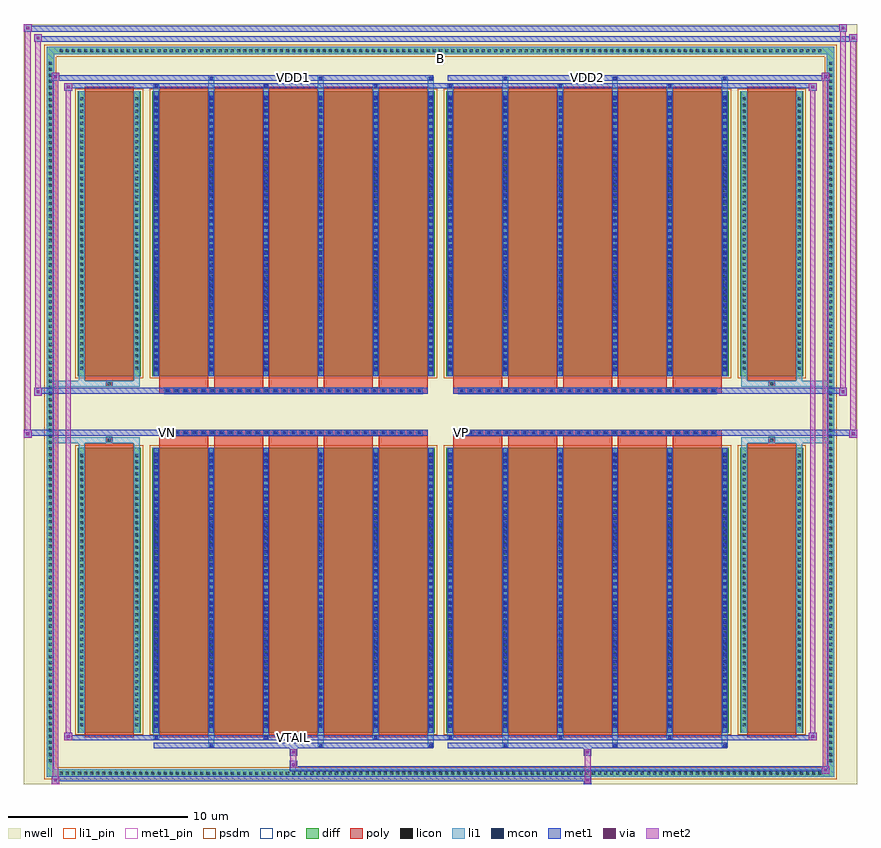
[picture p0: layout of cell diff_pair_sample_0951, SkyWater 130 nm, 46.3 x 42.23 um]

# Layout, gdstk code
import gdstk
lib = gdstk.Library(unit=1e-6, precision=5e-09)
def R(c, l, rs):  # rectangles x0, y0, x1, y1
    for r in rs: c.add(gdstk.rectangle(r[:2], r[2:], *l))
def A(c, l, x, y, w, h, nx, ny, dx, dy):  # array of equal rectangles
    R(c, l, [(x+i*dx, y+j*dy, x+i*dx+w, y+j*dy+h) for i in range(nx) for j in range(ny)])
def P(c, l, *ps):  # polygons
    for p in ps: c.add(gdstk.Polygon(p, *l))
nwell = (64, 20)
diff = (65, 20)
poly = (66, 20)
licon = (66, 44)
li1_pin = (67, 16)
li1 = (67, 20)
mcon = (67, 44)
met1_pin = (68, 16)
met1 = (68, 20)
via = (68, 44)
met2 = (69, 20)
psdm = (94, 20)
npc = (95, 20)

diff_pair_sample_0951 = lib.new_cell('diff_pair_sample_0951')
R(diff_pair_sample_0951, nwell, [(-23.15,-20.68,23.15,21.55), (-20.47,-18.87,-0.01,-0.805), (0.01,-18.87,20.47,-0.805), (-20.47,0.805,-0.01,18.87), (0.01,0.805,20.47,18.87)])
A(diff_pair_sample_0951, diff, -21.285, -20.28, 0.41, 0.41, 125, 2, 0.34, 40.15)
A(diff_pair_sample_0951, diff, -21.88, -19.585, 0.41, 0.41, 1, 115, 0, 0.34)
A(diff_pair_sample_0951, diff, 21.47, -19.585, 0.41, 0.41, 1, 115, 0, 0.34)
R(diff_pair_sample_0951, diff, [(-21.285,-20.28,21.285,-19.87), (-21.88,-19.585,-21.47,19.585), (21.47,-19.585,21.88,19.585), (-20.16,-17.825,-16.66,-1.985), (-16.02,-17.825,-0.32,-1.985), (0.32,-17.825,16.02,-1.985), (16.66,-17.825,20.16,-1.985), (-20.16,1.985,-16.66,17.825), (-16.02,1.985,-0.32,17.825), (0.32,1.985,16.02,17.825), (16.66,1.985,20.16,17.825), (-21.285,19.87,21.285,20.28)])
P(diff_pair_sample_0951, diff, [(21.88,20.28),(-21.88,20.28),(-21.88,-19.87),(-21.47,-19.87),(-21.47,19.87),(21.47,19.87),(21.47,-19.87),(-21.47,-19.87),(-21.88,-19.87),(-21.88,-20.28),(21.88,-20.28)])
A(diff_pair_sample_0951, poly, -15.63, -18.075, 2.72, 16.34, 5, 2, 3.05, 19.81)
A(diff_pair_sample_0951, poly, 0.71, -18.075, 2.72, 16.34, 5, 2, 3.05, 19.81)
A(diff_pair_sample_0951, poly, -15.63, -1.735, 2.72, 0.4, 5, 2, 3.05, 3.07)
A(diff_pair_sample_0951, poly, 0.71, -1.735, 2.72, 0.4, 5, 2, 3.05, 3.07)
A(diff_pair_sample_0951, poly, -15.335, -1.335, 0.33, 0.33, 29, 2, 0.5, 2.34)
A(diff_pair_sample_0951, poly, 1.005, -1.335, 0.33, 0.33, 29, 2, 0.5, 2.34)
R(diff_pair_sample_0951, poly, [(-19.77,-18.075,-17.05,-1.735), (17.05,-18.075,19.77,-1.735), (-18.575,-1.735,-18.245,-1.405), (-18.575,-1.735,-18.245,-1.405), (18.245,-1.735,18.575,-1.405), (18.245,-1.735,18.575,-1.405), (-15.63,-1.335,-0.71,-1.005), (0.71,-1.335,15.63,-1.005), (-15.63,1.005,-0.71,1.335), (0.71,1.005,15.63,1.335), (-18.575,1.405,-18.245,1.735), (-18.575,1.405,-18.245,1.735), (18.245,1.405,18.575,1.735), (18.245,1.405,18.575,1.735), (-19.77,1.735,-17.05,18.075), (17.05,1.735,19.77,18.075)])
A(diff_pair_sample_0951, licon, -21.165, -20.16, 0.17, 0.17, 125, 2, 0.34, 40.15)
A(diff_pair_sample_0951, licon, -21.76, -19.465, 0.17, 0.17, 1, 115, 0, 0.34)
A(diff_pair_sample_0951, licon, 21.59, -19.465, 0.17, 0.17, 1, 115, 0, 0.34)
A(diff_pair_sample_0951, licon, -20.02, -17.47, 0.17, 0.17, 1, 45, 0, 0.34)
A(diff_pair_sample_0951, licon, -16.97, -17.47, 0.17, 0.17, 1, 45, 0, 0.34)
A(diff_pair_sample_0951, licon, -15.88, -17.47, 0.17, 0.17, 6, 45, 3.05, 0.34)
A(diff_pair_sample_0951, licon, 0.46, -17.47, 0.17, 0.17, 6, 45, 3.05, 0.34)
A(diff_pair_sample_0951, licon, 16.8, -17.47, 0.17, 0.17, 1, 45, 0, 0.34)
A(diff_pair_sample_0951, licon, 19.85, -17.47, 0.17, 0.17, 1, 45, 0, 0.34)
A(diff_pair_sample_0951, licon, -15.255, -1.255, 0.17, 0.17, 29, 2, 0.5, 2.34)
A(diff_pair_sample_0951, licon, 1.085, -1.255, 0.17, 0.17, 29, 2, 0.5, 2.34)
A(diff_pair_sample_0951, licon, -20.02, 2.34, 0.17, 0.17, 1, 45, 0, 0.34)
A(diff_pair_sample_0951, licon, -16.97, 2.34, 0.17, 0.17, 1, 45, 0, 0.34)
A(diff_pair_sample_0951, licon, -15.88, 2.34, 0.17, 0.17, 6, 45, 3.05, 0.34)
A(diff_pair_sample_0951, licon, 0.46, 2.34, 0.17, 0.17, 6, 45, 3.05, 0.34)
A(diff_pair_sample_0951, licon, 16.8, 2.34, 0.17, 0.17, 1, 45, 0, 0.34)
A(diff_pair_sample_0951, licon, 19.85, 2.34, 0.17, 0.17, 1, 45, 0, 0.34)
R(diff_pair_sample_0951, licon, [(-18.495,-1.655,-18.325,-1.485), (18.325,-1.655,18.495,-1.485), (-18.495,1.485,-18.325,1.655), (18.325,1.485,18.495,1.655)])
R(diff_pair_sample_0951, li1_pin, [(-0.25,19.37,0.25,19.87)])
A(diff_pair_sample_0951, li1, -21.245, -20.24, 0.33, 0.33, 125, 2, 0.34, 40.15)
A(diff_pair_sample_0951, li1, -21.84, -19.545, 0.33, 0.33, 1, 115, 0, 0.34)
A(diff_pair_sample_0951, li1, 21.51, -19.545, 0.33, 0.33, 1, 115, 0, 0.34)
A(diff_pair_sample_0951, li1, -12.91, -18.63, 0.33, 0.805, 3, 2, 6.1, 36.455)
A(diff_pair_sample_0951, li1, -12.83, -18.63, 0.17, 0.17, 3, 2, 6.1, 37.09)
A(diff_pair_sample_0951, li1, 3.43, -18.63, 0.33, 0.805, 3, 2, 6.1, 36.455)
A(diff_pair_sample_0951, li1, 3.51, -18.63, 0.17, 0.17, 3, 2, 6.1, 37.09)
A(diff_pair_sample_0951, li1, -15.96, -18.2, 0.33, 0.375, 3, 2, 6.1, 36.025)
A(diff_pair_sample_0951, li1, -15.88, -18.2, 0.17, 0.17, 3, 2, 6.1, 36.23)
A(diff_pair_sample_0951, li1, 0.38, -18.2, 0.33, 0.375, 3, 2, 6.1, 36.025)
A(diff_pair_sample_0951, li1, 0.46, -18.2, 0.17, 0.17, 3, 2, 6.1, 36.23)
A(diff_pair_sample_0951, li1, -15.96, -17.825, 0.33, 15.84, 6, 2, 3.05, 19.81)
A(diff_pair_sample_0951, li1, 0.38, -17.825, 0.33, 15.84, 6, 2, 3.05, 19.81)
A(diff_pair_sample_0951, li1, -20.1, -17.55, 0.33, 0.33, 1, 45, 0, 0.34)
A(diff_pair_sample_0951, li1, -17.05, -17.55, 0.33, 0.33, 1, 45, 0, 0.34)
A(diff_pair_sample_0951, li1, -15.96, -17.55, 0.33, 0.33, 6, 45, 3.05, 0.34)
A(diff_pair_sample_0951, li1, -15.88, -17.55, 0.17, 0.17, 6, 43, 3.05, 0.36)
A(diff_pair_sample_0951, li1, -15.88, -17.55, 0.17, 15.29, 6, 2, 3.05, 19.81)
A(diff_pair_sample_0951, li1, 0.38, -17.55, 0.33, 0.33, 6, 45, 3.05, 0.34)
A(diff_pair_sample_0951, li1, 0.46, -17.55, 0.17, 0.17, 6, 43, 3.05, 0.36)
A(diff_pair_sample_0951, li1, 0.46, -17.55, 0.17, 15.29, 6, 2, 3.05, 19.81)
A(diff_pair_sample_0951, li1, 16.72, -17.55, 0.33, 0.33, 1, 45, 0, 0.34)
A(diff_pair_sample_0951, li1, 19.77, -17.55, 0.33, 0.33, 1, 45, 0, 0.34)
A(diff_pair_sample_0951, li1, -15.335, -1.335, 0.33, 0.33, 29, 2, 0.5, 2.34)
A(diff_pair_sample_0951, li1, 1.005, -1.335, 0.33, 0.33, 29, 2, 0.5, 2.34)
A(diff_pair_sample_0951, li1, -20.1, 2.26, 0.33, 0.33, 1, 45, 0, 0.34)
A(diff_pair_sample_0951, li1, -17.05, 2.26, 0.33, 0.33, 1, 45, 0, 0.34)
A(diff_pair_sample_0951, li1, -15.96, 2.26, 0.33, 0.33, 6, 45, 3.05, 0.34)
A(diff_pair_sample_0951, li1, -15.88, 2.26, 0.17, 0.17, 6, 43, 3.05, 0.36)
A(diff_pair_sample_0951, li1, 0.38, 2.26, 0.33, 0.33, 6, 45, 3.05, 0.34)
A(diff_pair_sample_0951, li1, 0.46, 2.26, 0.17, 0.17, 6, 43, 3.05, 0.36)
A(diff_pair_sample_0951, li1, 16.72, 2.26, 0.33, 0.33, 1, 45, 0, 0.34)
A(diff_pair_sample_0951, li1, 19.77, 2.26, 0.33, 0.33, 1, 45, 0, 0.34)
R(diff_pair_sample_0951, li1, [(-21.88,-20.28,-21.47,-19.87), (-21.88,-20.28,-21.47,-19.87), (-21.47,-20.28,21.47,-19.87), (21.47,-20.28,21.88,-19.87), (21.47,-20.28,21.88,-19.87), (-21.88,-19.87,-21.47,19.87), (21.47,-19.87,21.88,19.87), (-20.1,-17.825,-19.77,-1.985), (-17.05,-17.825,-16.72,-1.985), (16.72,-17.825,17.05,-1.985), (19.77,-17.825,20.1,-1.985), (-20.1,-1.985,-19.77,-1.405), (-17.05,-1.985,-16.72,-1.405), (16.72,-1.985,17.05,-1.405), (19.77,-1.985,20.1,-1.405), (-21.88,-1.735,-18.575,-1.405), (-20.1,-1.735,-18.575,-1.405), (-18.575,-1.735,-18.245,-1.405), (-18.245,-1.735,-16.72,-1.405), (16.72,-1.735,18.245,-1.405), (18.245,-1.735,18.575,-1.405), (18.245,-1.735,21.88,-1.405), (18.575,-1.735,20.1,-1.405), (-21.88,1.405,-18.575,1.735), (-20.1,1.405,-18.575,1.735), (-20.1,1.405,-19.77,1.985), (-18.575,1.405,-18.245,1.735), (-18.245,1.405,-16.72,1.735), (-17.05,1.405,-16.72,1.985), (16.72,1.405,18.245,1.735), (16.72,1.405,17.05,1.985), (18.245,1.405,18.575,1.735), (18.245,1.405,21.88,1.735), (18.575,1.405,20.1,1.735), (19.77,1.405,20.1,1.985), (-20.1,1.985,-19.77,17.825), (-17.05,1.985,-16.72,17.825), (16.72,1.985,17.05,17.825), (19.77,1.985,20.1,17.825), (-21.88,19.87,-21.47,20.28), (-21.88,19.87,-21.47,20.28), (-21.47,19.87,21.47,20.28), (21.47,19.87,21.88,20.28), (21.47,19.87,21.88,20.28)])
A(diff_pair_sample_0951, mcon, -12.83, -18.63, 0.17, 0.17, 3, 2, 6.1, 37.09)
A(diff_pair_sample_0951, mcon, 3.51, -18.63, 0.17, 0.17, 3, 2, 6.1, 37.09)
A(diff_pair_sample_0951, mcon, -15.88, -18.2, 0.17, 0.17, 3, 2, 6.1, 36.23)
A(diff_pair_sample_0951, mcon, 0.46, -18.2, 0.17, 0.17, 3, 2, 6.1, 36.23)
A(diff_pair_sample_0951, mcon, -15.88, -17.55, 0.17, 0.17, 6, 43, 3.05, 0.36)
A(diff_pair_sample_0951, mcon, 0.46, -17.55, 0.17, 0.17, 6, 43, 3.05, 0.36)
A(diff_pair_sample_0951, mcon, -15.255, -1.255, 0.17, 0.17, 29, 2, 0.5, 2.34)
A(diff_pair_sample_0951, mcon, 1.085, -1.255, 0.17, 0.17, 29, 2, 0.5, 2.34)
A(diff_pair_sample_0951, mcon, -15.88, 2.26, 0.17, 0.17, 6, 43, 3.05, 0.36)
A(diff_pair_sample_0951, mcon, 0.46, 2.26, 0.17, 0.17, 6, 43, 3.05, 0.36)
R(diff_pair_sample_0951, met1_pin, [(-8.305,-18.24,-8.035,-17.97), (-15.305,-1.295,-15.035,-1.025), (1.035,-1.295,1.305,-1.025), (-8.305,18.42,-8.035,18.69), (8.035,18.42,8.305,18.69)])
A(diff_pair_sample_0951, met1, -12.89, -18.69, 0.29, 0.29, 3, 2, 6.1, 37.09)
A(diff_pair_sample_0951, met1, 3.45, -18.69, 0.29, 0.29, 3, 2, 6.1, 37.09)
A(diff_pair_sample_0951, met1, -15.94, -18.26, 0.29, 0.29, 3, 2, 6.1, 36.23)
A(diff_pair_sample_0951, met1, 0.4, -18.26, 0.29, 0.29, 3, 2, 6.1, 36.23)
A(diff_pair_sample_0951, met1, -15.94, -17.825, 0.29, 15.84, 6, 2, 3.05, 19.81)
A(diff_pair_sample_0951, met1, 0.4, -17.825, 0.29, 15.84, 6, 2, 3.05, 19.81)
A(diff_pair_sample_0951, met1, -15.94, -17.61, 0.29, 0.29, 6, 43, 3.05, 0.36)
A(diff_pair_sample_0951, met1, 0.4, -17.61, 0.29, 0.29, 6, 43, 3.05, 0.36)
A(diff_pair_sample_0951, met1, -15.315, -1.315, 0.29, 0.29, 29, 2, 0.5, 2.34)
A(diff_pair_sample_0951, met1, 1.025, -1.315, 0.29, 0.29, 29, 2, 0.5, 2.34)
A(diff_pair_sample_0951, met1, -15.94, 2.2, 0.29, 0.29, 6, 43, 3.05, 0.36)
A(diff_pair_sample_0951, met1, 0.4, 2.2, 0.29, 0.29, 6, 43, 3.05, 0.36)
R(diff_pair_sample_0951, met1, [(-21.61,-20.68,-21.18,-20.25), (7.955,-20.68,8.385,-20.25), (-21.61,-20.54,8.385,-20.25), (21.18,-20.11,21.61,-19.68), (-8.385,-19.97,21.61,-19.68), (-8.385,-19.83,-7.955,-19.4), (-8.385,-19.12,-7.955,-18.69), (7.955,-19.12,8.385,-18.69), (-15.94,-18.69,-0.4,-18.4), (0.4,-18.69,15.94,-18.4), (-20.9,-18.26,-20.47,-17.83), (-20.9,-18.26,-15.94,-17.97), (-15.94,-18.26,-0.4,-17.97), (-0.4,-18.26,0.4,-17.97), (0.4,-18.26,15.94,-17.97), (15.94,-18.26,20.9,-17.97), (20.47,-18.26,20.9,-17.83), (-23.15,-1.435,-22.72,-1.005), (22.72,-1.435,23.15,-1.005), (-23.15,-1.335,-0.71,-1.005), (-15.63,-1.335,-0.71,-1.005), (0.71,-1.335,15.63,-1.005), (0.71,-1.335,23.15,-1.005), (-22.58,0.905,-22.15,1.335), (22.15,0.905,22.58,1.335), (-22.58,1.005,-15.63,1.335), (-15.63,1.005,-0.71,1.335), (0.71,1.005,15.63,1.335), (15.63,1.005,22.58,1.335), (-20.9,17.83,-20.47,18.26), (20.47,17.83,20.9,18.26), (-20.9,17.97,-15.94,18.26), (-15.94,17.97,-0.4,18.26), (-0.4,17.97,0.4,18.26), (0.4,17.97,15.94,18.26), (15.94,17.97,20.9,18.26), (-21.61,18.4,-21.18,18.83), (-21.61,18.4,-15.94,18.69), (-15.94,18.4,-0.4,18.69), (0.4,18.4,15.94,18.69), (15.94,18.4,21.61,18.69), (21.18,18.4,21.61,18.83), (-22.58,20.55,-22.15,20.98), (-22.58,20.55,-20.47,20.88), (-20.47,20.55,20.47,20.88), (20.47,20.55,23.15,20.88), (22.72,20.55,23.15,20.98), (-23.15,21.12,-22.72,21.55), (-23.15,21.12,-20.47,21.45), (-20.47,21.12,20.47,21.45), (20.47,21.12,22.58,21.45), (22.15,21.12,22.58,21.55)])
R(diff_pair_sample_0951, via, [(-21.47,-20.54,-21.32,-20.39), (8.095,-20.54,8.245,-20.39), (21.32,-19.97,21.47,-19.82), (-8.245,-19.69,-8.095,-19.54), (-8.245,-18.98,-8.095,-18.83), (8.095,-18.98,8.245,-18.83), (-20.76,-18.12,-20.61,-17.97), (20.61,-18.12,20.76,-17.97), (-23.01,-1.295,-22.86,-1.145), (22.86,-1.295,23.01,-1.145), (-22.44,1.045,-22.29,1.195), (22.29,1.045,22.44,1.195), (-20.76,17.97,-20.61,18.12), (20.61,17.97,20.76,18.12), (-21.47,18.54,-21.32,18.69), (21.32,18.54,21.47,18.69), (-22.44,20.69,-22.29,20.84), (22.86,20.69,23.01,20.84), (-23.01,21.26,-22.86,21.41), (22.29,21.26,22.44,21.41)])
R(diff_pair_sample_0951, met2, [(-21.61,-20.68,-21.18,-20.25), (-21.54,-20.68,-21.25,18.83), (-21.25,-20.68,-21.18,-20.25), (-21.56,-20.63,-21.23,-20.3), (8.005,-20.63,8.335,-20.3), (8.005,-20.3,8.335,-19.07), (21.18,-20.11,21.61,-19.68), (21.25,-20.11,21.54,18.83), (21.54,-20.11,21.61,-19.68), (21.23,-20.06,21.56,-19.73), (-8.335,-19.78,-8.005,-19.45), (-8.335,-19.45,-8.005,-19.07), (-8.335,-19.07,-8.005,-18.74), (8.005,-19.07,8.335,-18.74), (-20.9,-18.26,-20.47,-17.83), (-20.83,-18.26,-20.54,18.26), (-20.54,-18.26,-20.47,-17.83), (20.47,-18.26,20.9,-17.83), (20.54,-18.26,20.83,18.26), (20.83,-18.26,20.9,-17.83), (-20.85,-18.21,-20.52,-17.88), (20.52,-18.21,20.85,-17.88), (-23.15,-1.435,-22.72,-1.005), (-23.1,-1.435,-22.77,21.55), (-22.77,-1.435,-22.72,-1.005), (22.72,-1.435,23.15,-1.005), (22.77,-1.435,23.1,20.98), (23.1,-1.435,23.15,-1.005), (-23.1,-1.385,-22.77,-1.055), (22.77,-1.385,23.1,-1.055), (-22.58,0.905,-22.15,1.335), (-22.53,0.905,-22.2,20.98), (-22.2,0.905,-22.15,1.335), (22.15,0.905,22.58,1.335), (22.2,0.905,22.53,21.55), (22.53,0.905,22.58,1.335), (-22.53,0.955,-22.2,1.285), (22.2,0.955,22.53,1.285), (-20.9,17.83,-20.47,18.26), (-20.54,17.83,-20.47,18.26), (20.47,17.83,20.9,18.26), (20.83,17.83,20.9,18.26), (-20.85,17.88,-20.52,18.21), (20.52,17.88,20.85,18.21), (-21.61,18.4,-21.18,18.83), (-21.25,18.4,-21.18,18.83), (21.18,18.4,21.61,18.83), (21.54,18.4,21.61,18.83), (-21.56,18.45,-21.23,18.78), (21.23,18.45,21.56,18.78), (-22.58,20.55,-22.15,20.98), (-22.2,20.55,-22.15,20.98), (22.72,20.55,23.15,20.98), (23.1,20.55,23.15,20.98), (-22.53,20.6,-22.2,20.93), (22.77,20.6,23.1,20.93), (-23.15,21.12,-22.72,21.55), (-22.77,21.12,-22.72,21.55), (22.15,21.12,22.58,21.55), (22.53,21.12,22.58,21.55), (-23.1,21.17,-22.77,21.5), (22.2,21.17,22.53,21.5)])
R(diff_pair_sample_0951, psdm, [(-20.29,-17.955,-16.53,-1.855), (-16.15,-17.955,-0.19,-1.855), (0.19,-17.955,16.15,-1.855), (16.53,-17.955,20.29,-1.855), (-20.29,1.855,-16.53,17.955), (-16.15,1.855,-0.19,17.955), (0.19,1.855,16.15,17.955), (16.53,1.855,20.29,17.955)])
P(diff_pair_sample_0951, psdm, [(22.01,20.41),(-22.01,20.41),(-22.01,-19.74),(-21.34,-19.74),(-21.34,19.74),(21.34,19.74),(21.34,-19.74),(-21.34,-19.74),(-22.01,-19.74),(-22.01,-20.41),(22.01,-20.41)])
A(diff_pair_sample_0951, npc, -15.355, -1.355, 0.37, 0.37, 29, 2, 0.5, 2.34)
A(diff_pair_sample_0951, npc, 0.985, -1.355, 0.37, 0.37, 29, 2, 0.5, 2.34)
R(diff_pair_sample_0951, npc, [(-18.595,-1.755,-18.225,-1.385), (18.225,-1.755,18.595,-1.385), (-15.355,-1.355,-14.485,-0.985), (-15.355,-1.355,-14.485,-0.985), (-14.855,-1.355,-13.985,-0.985), (-14.855,-1.355,-13.985,-0.985), (-14.355,-1.355,-13.485,-0.985), (-14.355,-1.355,-13.485,-0.985), (-13.855,-1.355,-12.985,-0.985), (-13.855,-1.355,-12.985,-0.985), (-13.355,-1.355,-12.485,-0.985), (-13.355,-1.355,-12.485,-0.985), (-12.855,-1.355,-11.985,-0.985), (-12.855,-1.355,-11.985,-0.985), (-12.355,-1.355,-11.485,-0.985), (-12.355,-1.355,-11.485,-0.985), (-11.855,-1.355,-10.985,-0.985), (-11.855,-1.355,-10.985,-0.985), (-11.355,-1.355,-10.485,-0.985), (-11.355,-1.355,-10.485,-0.985), (-10.855,-1.355,-9.985,-0.985), (-10.855,-1.355,-9.985,-0.985), (-10.355,-1.355,-9.485,-0.985), (-10.355,-1.355,-9.485,-0.985), (-9.855,-1.355,-8.985,-0.985), (-9.855,-1.355,-8.985,-0.985), (-9.355,-1.355,-8.485,-0.985), (-9.355,-1.355,-8.485,-0.985), (-8.855,-1.355,-7.985,-0.985), (-8.855,-1.355,-7.985,-0.985), (-8.355,-1.355,-7.485,-0.985), (-8.355,-1.355,-7.485,-0.985), (-7.855,-1.355,-6.985,-0.985), (-7.855,-1.355,-6.985,-0.985), (-7.355,-1.355,-6.485,-0.985), (-7.355,-1.355,-6.485,-0.985), (-6.855,-1.355,-5.985,-0.985), (-6.855,-1.355,-5.985,-0.985), (-6.355,-1.355,-5.485,-0.985), (-6.355,-1.355,-5.485,-0.985), (-5.855,-1.355,-4.985,-0.985), (-5.855,-1.355,-4.985,-0.985), (-5.355,-1.355,-4.485,-0.985), (-5.355,-1.355,-4.485,-0.985), (-4.855,-1.355,-3.985,-0.985), (-4.855,-1.355,-3.985,-0.985), (-4.355,-1.355,-3.485,-0.985), (-4.355,-1.355,-3.485,-0.985), (-3.855,-1.355,-2.985,-0.985), (-3.855,-1.355,-2.985,-0.985), (-3.355,-1.355,-2.485,-0.985), (-3.355,-1.355,-2.485,-0.985), (-2.855,-1.355,-1.985,-0.985), (-2.855,-1.355,-1.985,-0.985), (-2.355,-1.355,-1.485,-0.985), (-2.355,-1.355,-1.485,-0.985), (-1.855,-1.355,-0.985,-0.985), (-1.855,-1.355,-0.985,-0.985), (0.985,-1.355,1.855,-0.985), (0.985,-1.355,1.855,-0.985), (1.485,-1.355,2.355,-0.985), (1.485,-1.355,2.355,-0.985), (1.985,-1.355,2.855,-0.985), (1.985,-1.355,2.855,-0.985), (2.485,-1.355,3.355,-0.985), (2.485,-1.355,3.355,-0.985), (2.985,-1.355,3.855,-0.985), (2.985,-1.355,3.855,-0.985), (3.485,-1.355,4.355,-0.985), (3.485,-1.355,4.355,-0.985), (3.985,-1.355,4.855,-0.985), (3.985,-1.355,4.855,-0.985), (4.485,-1.355,5.355,-0.985), (4.485,-1.355,5.355,-0.985), (4.985,-1.355,5.855,-0.985), (4.985,-1.355,5.855,-0.985), (5.485,-1.355,6.355,-0.985), (5.485,-1.355,6.355,-0.985), (5.985,-1.355,6.855,-0.985), (5.985,-1.355,6.855,-0.985), (6.485,-1.355,7.355,-0.985), (6.485,-1.355,7.355,-0.985), (6.985,-1.355,7.855,-0.985), (6.985,-1.355,7.855,-0.985), (7.485,-1.355,8.355,-0.985), (7.485,-1.355,8.355,-0.985), (7.985,-1.355,8.855,-0.985), (7.985,-1.355,8.855,-0.985), (8.485,-1.355,9.355,-0.985), (8.485,-1.355,9.355,-0.985), (8.985,-1.355,9.855,-0.985), (8.985,-1.355,9.855,-0.985), (9.485,-1.355,10.355,-0.985), (9.485,-1.355,10.355,-0.985), (9.985,-1.355,10.855,-0.985), (9.985,-1.355,10.855,-0.985), (10.485,-1.355,11.355,-0.985), (10.485,-1.355,11.355,-0.985), (10.985,-1.355,11.855,-0.985), (10.985,-1.355,11.855,-0.985), (11.485,-1.355,12.355,-0.985), (11.485,-1.355,12.355,-0.985), (11.985,-1.355,12.855,-0.985), (11.985,-1.355,12.855,-0.985), (12.485,-1.355,13.355,-0.985), (12.485,-1.355,13.355,-0.985), (12.985,-1.355,13.855,-0.985), (12.985,-1.355,13.855,-0.985), (13.485,-1.355,14.355,-0.985), (13.485,-1.355,14.355,-0.985), (13.985,-1.355,14.855,-0.985), (13.985,-1.355,14.855,-0.985), (14.485,-1.355,15.355,-0.985), (14.485,-1.355,15.355,-0.985), (-15.355,0.985,-14.485,1.355), (-15.355,0.985,-14.485,1.355), (-14.855,0.985,-13.985,1.355), (-14.855,0.985,-13.985,1.355), (-14.355,0.985,-13.485,1.355), (-14.355,0.985,-13.485,1.355), (-13.855,0.985,-12.985,1.355), (-13.855,0.985,-12.985,1.355), (-13.355,0.985,-12.485,1.355), (-13.355,0.985,-12.485,1.355), (-12.855,0.985,-11.985,1.355), (-12.855,0.985,-11.985,1.355), (-12.355,0.985,-11.485,1.355), (-12.355,0.985,-11.485,1.355), (-11.855,0.985,-10.985,1.355), (-11.855,0.985,-10.985,1.355), (-11.355,0.985,-10.485,1.355), (-11.355,0.985,-10.485,1.355), (-10.855,0.985,-9.985,1.355), (-10.855,0.985,-9.985,1.355), (-10.355,0.985,-9.485,1.355), (-10.355,0.985,-9.485,1.355), (-9.855,0.985,-8.985,1.355), (-9.855,0.985,-8.985,1.355), (-9.355,0.985,-8.485,1.355), (-9.355,0.985,-8.485,1.355), (-8.855,0.985,-7.985,1.355), (-8.855,0.985,-7.985,1.355), (-8.355,0.985,-7.485,1.355), (-8.355,0.985,-7.485,1.355), (-7.855,0.985,-6.985,1.355), (-7.855,0.985,-6.985,1.355), (-7.355,0.985,-6.485,1.355), (-7.355,0.985,-6.485,1.355), (-6.855,0.985,-5.985,1.355), (-6.855,0.985,-5.985,1.355), (-6.355,0.985,-5.485,1.355), (-6.355,0.985,-5.485,1.355), (-5.855,0.985,-4.985,1.355), (-5.855,0.985,-4.985,1.355), (-5.355,0.985,-4.485,1.355), (-5.355,0.985,-4.485,1.355), (-4.855,0.985,-3.985,1.355), (-4.855,0.985,-3.985,1.355), (-4.355,0.985,-3.485,1.355), (-4.355,0.985,-3.485,1.355), (-3.855,0.985,-2.985,1.355), (-3.855,0.985,-2.985,1.355), (-3.355,0.985,-2.485,1.355), (-3.355,0.985,-2.485,1.355), (-2.855,0.985,-1.985,1.355), (-2.855,0.985,-1.985,1.355), (-2.355,0.985,-1.485,1.355), (-2.355,0.985,-1.485,1.355), (-1.855,0.985,-0.985,1.355), (-1.855,0.985,-0.985,1.355), (0.985,0.985,1.855,1.355), (0.985,0.985,1.855,1.355), (1.485,0.985,2.355,1.355), (1.485,0.985,2.355,1.355), (1.985,0.985,2.855,1.355), (1.985,0.985,2.855,1.355), (2.485,0.985,3.355,1.355), (2.485,0.985,3.355,1.355), (2.985,0.985,3.855,1.355), (2.985,0.985,3.855,1.355), (3.485,0.985,4.355,1.355), (3.485,0.985,4.355,1.355), (3.985,0.985,4.855,1.355), (3.985,0.985,4.855,1.355), (4.485,0.985,5.355,1.355), (4.485,0.985,5.355,1.355), (4.985,0.985,5.855,1.355), (4.985,0.985,5.855,1.355), (5.485,0.985,6.355,1.355), (5.485,0.985,6.355,1.355), (5.985,0.985,6.855,1.355), (5.985,0.985,6.855,1.355), (6.485,0.985,7.355,1.355), (6.485,0.985,7.355,1.355), (6.985,0.985,7.855,1.355), (6.985,0.985,7.855,1.355), (7.485,0.985,8.355,1.355), (7.485,0.985,8.355,1.355), (7.985,0.985,8.855,1.355), (7.985,0.985,8.855,1.355), (8.485,0.985,9.355,1.355), (8.485,0.985,9.355,1.355), (8.985,0.985,9.855,1.355), (8.985,0.985,9.855,1.355), (9.485,0.985,10.355,1.355), (9.485,0.985,10.355,1.355), (9.985,0.985,10.855,1.355), (9.985,0.985,10.855,1.355), (10.485,0.985,11.355,1.355), (10.485,0.985,11.355,1.355), (10.985,0.985,11.855,1.355), (10.985,0.985,11.855,1.355), (11.485,0.985,12.355,1.355), (11.485,0.985,12.355,1.355), (11.985,0.985,12.855,1.355), (11.985,0.985,12.855,1.355), (12.485,0.985,13.355,1.355), (12.485,0.985,13.355,1.355), (12.985,0.985,13.855,1.355), (12.985,0.985,13.855,1.355), (13.485,0.985,14.355,1.355), (13.485,0.985,14.355,1.355), (13.985,0.985,14.855,1.355), (13.985,0.985,14.855,1.355), (14.485,0.985,15.355,1.355), (14.485,0.985,15.355,1.355), (-18.595,1.385,-18.225,1.755), (18.225,1.385,18.595,1.755)])
diff_pair_sample_0951.add(gdstk.Label('VTAIL', (-8.17,-18.105), layer=68, texttype=5))
diff_pair_sample_0951.add(gdstk.Label('VN', (-15.17,-1.16), layer=68, texttype=5))
diff_pair_sample_0951.add(gdstk.Label('VP', (1.17,-1.16), layer=68, texttype=5))
diff_pair_sample_0951.add(gdstk.Label('B', (0,19.62), layer=67, texttype=5))
diff_pair_sample_0951.add(gdstk.Label('VDD2', (8.17,18.555), layer=68, texttype=5))
diff_pair_sample_0951.add(gdstk.Label('VDD1', (-8.17,18.555), layer=68, texttype=5))

lib.write_gds('diff_pair_sample_0951.gds')
